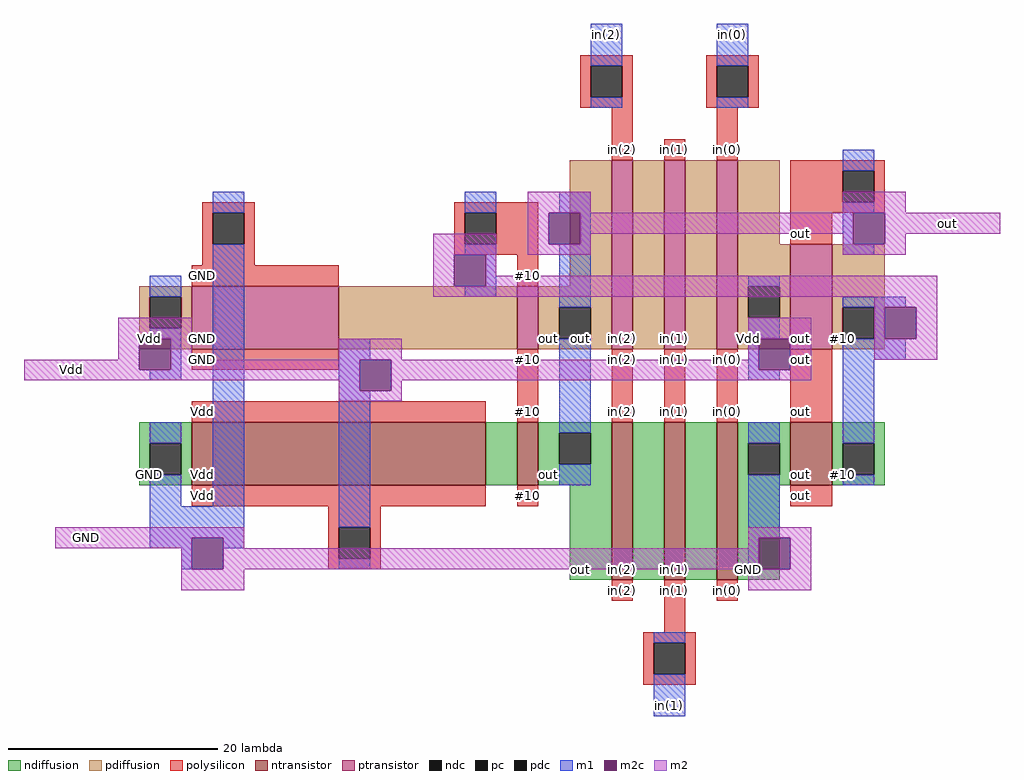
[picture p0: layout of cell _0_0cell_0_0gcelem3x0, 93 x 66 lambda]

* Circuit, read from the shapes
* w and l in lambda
.subckt _0_0cell_0_0gcelem3x0 #10 GND Vdd in(0) in(1) in(2) out
M1 n1 Vdd GND VSUBS nfet w=6 l=28
M2 out #10 n1 VSUBS nfet w=6 l=2
M3 n2 in(2) out VSUBS nfet w=15 l=2
M4 n3 in(1) n2 VSUBS nfet w=15 l=2
M5 GND in(0) n3 VSUBS nfet w=15 l=2
M6 #10 out GND VSUBS nfet w=6 l=4
M7 n4 GND Vdd NWELL pfet w=6 l=14
M8 out #10 n4 NWELL pfet w=6 l=2
M9 n5 in(2) out NWELL pfet w=18 l=2
M10 n6 in(1) n5 NWELL pfet w=18 l=2
M11 Vdd in(0) n6 NWELL pfet w=18 l=2
M12 #10 out Vdd NWELL pfet w=10 l=4
.ends

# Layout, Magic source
magic
tech sky130l
<< ndiffusion >>
rect 8 18 13 20
rect 8 15 9 18
rect 12 15 13 18
rect 8 14 13 15
rect 41 14 44 20
rect 46 19 53 20
rect 46 16 48 19
rect 51 16 53 19
rect 46 14 53 16
rect 49 5 53 14
rect 55 5 58 20
rect 60 5 63 20
rect 65 18 70 20
rect 65 15 66 18
rect 69 15 70 18
rect 65 14 70 15
rect 74 18 79 20
rect 74 15 75 18
rect 78 15 79 18
rect 74 14 79 15
rect 65 5 69 14
<< ndc >>
rect 9 15 12 18
rect 48 16 51 19
rect 66 15 69 18
rect 75 15 78 18
<< ntransistor >>
rect 13 14 41 20
rect 44 14 46 20
rect 53 5 55 20
rect 58 5 60 20
rect 63 5 65 20
rect 70 14 74 20
<< pdiffusion >>
rect 49 33 53 45
rect 8 32 13 33
rect 8 29 9 32
rect 12 29 13 32
rect 8 27 13 29
rect 27 27 44 33
rect 46 31 53 33
rect 46 28 48 31
rect 51 28 53 31
rect 46 27 53 28
rect 55 27 58 45
rect 60 27 63 45
rect 65 37 69 45
rect 65 33 70 37
rect 65 30 66 33
rect 69 30 70 33
rect 65 27 70 30
rect 74 31 79 37
rect 74 28 75 31
rect 78 28 79 31
rect 74 27 79 28
<< pdc >>
rect 9 29 12 32
rect 48 28 51 31
rect 66 30 69 33
rect 75 28 78 31
<< ptransistor >>
rect 13 27 27 33
rect 44 27 46 33
rect 53 27 55 45
rect 58 27 60 45
rect 63 27 65 45
rect 70 27 74 37
<< polysilicon >>
rect 50 54 55 55
rect 50 51 51 54
rect 54 51 55 54
rect 50 50 55 51
rect 62 54 67 55
rect 62 51 63 54
rect 66 51 67 54
rect 62 50 67 51
rect 53 45 55 50
rect 58 45 60 47
rect 63 45 65 50
rect 14 40 19 41
rect 14 37 15 40
rect 18 37 19 40
rect 14 35 19 37
rect 38 40 46 41
rect 38 37 39 40
rect 42 37 46 40
rect 38 36 46 37
rect 13 33 27 35
rect 44 33 46 36
rect 70 44 79 45
rect 70 41 75 44
rect 78 41 79 44
rect 70 40 79 41
rect 70 37 74 40
rect 13 25 27 27
rect 13 20 41 22
rect 44 20 46 27
rect 53 20 55 27
rect 58 20 60 27
rect 63 20 65 27
rect 70 20 74 27
rect 13 12 41 14
rect 44 12 46 14
rect 26 10 31 12
rect 26 7 27 10
rect 30 7 31 10
rect 26 6 31 7
rect 70 12 74 14
rect 53 3 55 5
rect 58 0 60 5
rect 63 3 65 5
rect 56 -1 61 0
rect 56 -4 57 -1
rect 60 -4 61 -1
rect 56 -5 61 -4
<< pc >>
rect 51 51 54 54
rect 63 51 66 54
rect 15 37 18 40
rect 39 37 42 40
rect 75 41 78 44
rect 27 7 30 10
rect 57 -4 60 -1
<< m1 >>
rect 51 54 54 58
rect 51 50 54 51
rect 63 54 66 58
rect 63 50 66 51
rect 75 44 78 46
rect 15 40 18 42
rect 9 32 12 34
rect 9 28 12 29
rect 11 25 12 28
rect 9 24 12 25
rect 9 18 12 20
rect 9 12 12 15
rect 15 12 18 37
rect 39 40 42 42
rect 48 40 51 42
rect 50 37 51 40
rect 39 36 42 37
rect 41 33 42 36
rect 39 32 42 33
rect 48 31 51 37
rect 75 40 78 41
rect 75 37 76 40
rect 75 36 78 37
rect 9 9 18 12
rect 9 8 13 9
rect 12 6 13 8
rect 16 8 18 9
rect 27 26 30 28
rect 27 23 29 26
rect 27 10 30 23
rect 48 19 51 28
rect 66 33 69 34
rect 66 28 69 30
rect 75 31 81 32
rect 78 28 79 31
rect 66 25 67 28
rect 75 26 81 28
rect 66 24 69 25
rect 48 14 51 16
rect 66 18 69 20
rect 27 6 30 7
rect 66 9 69 15
rect 75 18 78 26
rect 75 14 78 15
rect 66 6 67 9
rect 57 -1 60 0
rect 57 -8 60 -4
<< m2c >>
rect 8 25 11 28
rect 47 37 50 40
rect 38 33 41 36
rect 76 37 79 40
rect 13 6 16 9
rect 29 23 32 26
rect 79 28 82 31
rect 67 25 70 28
rect 67 6 70 9
<< m2 >>
rect 45 40 51 42
rect 75 40 81 42
rect 36 36 42 38
rect 45 37 47 40
rect 50 38 76 40
rect 50 37 51 38
rect 45 36 51 37
rect 75 37 76 38
rect 79 38 90 40
rect 79 37 81 38
rect 75 36 81 37
rect 36 33 38 36
rect 41 34 42 36
rect 41 33 84 34
rect 36 32 84 33
rect 78 31 84 32
rect 6 28 13 30
rect 66 28 72 30
rect 6 26 8 28
rect -3 25 8 26
rect 11 26 13 28
rect 27 26 33 28
rect 66 26 67 28
rect 11 25 29 26
rect -3 24 29 25
rect 27 23 29 24
rect 32 25 67 26
rect 70 25 72 28
rect 78 28 79 31
rect 82 28 84 31
rect 78 26 84 28
rect 32 24 72 25
rect 32 23 33 24
rect 27 22 33 23
rect 0 9 18 10
rect 0 8 13 9
rect 12 6 13 8
rect 16 8 18 9
rect 66 9 72 10
rect 66 8 67 9
rect 16 6 67 8
rect 70 6 72 9
rect 12 4 18 6
rect 66 4 72 6
<< labels >>
rlabel ndiffusion 75 15 75 15 3 #10
rlabel polysilicon 71 13 71 13 3 out
rlabel ntransistor 71 15 71 15 3 out
rlabel pdiffusion 75 28 75 28 3 #10
rlabel ndiffusion 70 15 70 15 3 GND
rlabel polysilicon 71 21 71 21 3 out
rlabel polysilicon 71 26 71 26 3 out
rlabel ptransistor 71 28 71 28 3 out
rlabel polysilicon 71 38 71 38 3 out
rlabel ndiffusion 66 6 66 6 3 GND
rlabel pdiffusion 70 28 70 28 3 Vdd
rlabel polysilicon 64 4 64 4 3 in(0)
rlabel ntransistor 64 6 64 6 3 in(0)
rlabel pdiffusion 66 28 66 28 3 Vdd
rlabel polysilicon 64 46 64 46 3 in(0)
rlabel polysilicon 64 21 64 21 3 in(0)
rlabel polysilicon 64 26 64 26 3 in(0)
rlabel ptransistor 64 28 64 28 3 in(0)
rlabel polysilicon 59 4 59 4 3 in(1)
rlabel ntransistor 59 6 59 6 3 in(1)
rlabel polysilicon 59 46 59 46 3 in(1)
rlabel polysilicon 59 21 59 21 3 in(1)
rlabel polysilicon 59 26 59 26 3 in(1)
rlabel ptransistor 59 28 59 28 3 in(1)
rlabel polysilicon 54 4 54 4 3 in(2)
rlabel ntransistor 54 6 54 6 3 in(2)
rlabel polysilicon 54 46 54 46 3 in(2)
rlabel ndiffusion 50 6 50 6 3 out
rlabel polysilicon 54 21 54 21 3 in(2)
rlabel polysilicon 54 26 54 26 3 in(2)
rlabel ptransistor 54 28 54 28 3 in(2)
rlabel pdiffusion 50 28 50 28 3 out
rlabel polysilicon 45 13 45 13 3 #10
rlabel ndiffusion 47 15 47 15 3 out
rlabel pdiffusion 47 28 47 28 3 out
rlabel polysilicon 45 34 45 34 3 #10
rlabel ntransistor 45 15 45 15 3 #10
rlabel polysilicon 45 21 45 21 3 #10
rlabel polysilicon 45 26 45 26 3 #10
rlabel ptransistor 45 28 45 28 3 #10
rlabel polysilicon 14 13 14 13 3 Vdd
rlabel ntransistor 14 15 14 15 3 Vdd
rlabel polysilicon 14 21 14 21 3 Vdd
rlabel polysilicon 14 26 14 26 3 GND
rlabel ptransistor 14 28 14 28 3 GND
rlabel polysilicon 14 34 14 34 3 GND
rlabel ndiffusion 9 15 9 15 3 GND
rlabel pdiffusion 9 28 9 28 3 Vdd
rlabel m2 0 24 3 26 3 Vdd
rlabel m2 1 8 5 10 1 GND
rlabel m2 84 38 86 40 7 out
rlabel m1 63 56 66 58 5 in(0)
rlabel m1 51 56 54 58 5 in(2)
rlabel m1 57 -8 60 -6 1 in(1)
<< end >>
